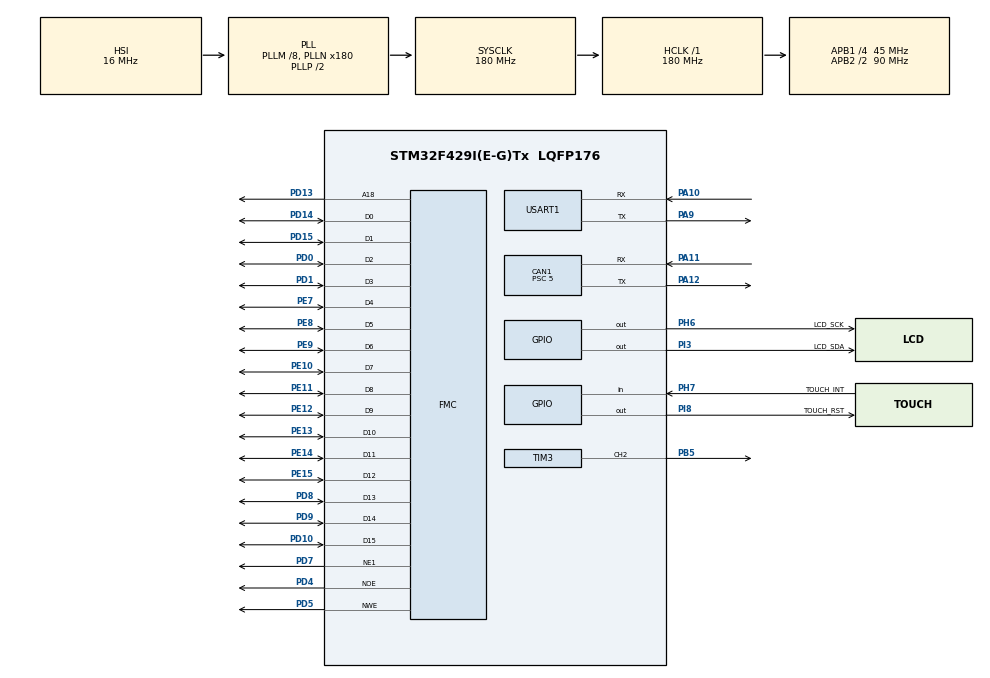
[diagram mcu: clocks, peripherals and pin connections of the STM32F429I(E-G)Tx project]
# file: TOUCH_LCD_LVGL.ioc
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CAN1.BS1=CAN_BS1_11TQ
CAN1.BS2=CAN_BS2_6TQ
CAN1.CalculateBaudRate=500000
CAN1.CalculateTimeBit=2000
CAN1.CalculateTimeQuantum=111.11111111111111
CAN1.Mode=CAN_MODE_NORMAL
CAN1.NART=ENABLE
CAN1.Prescaler=5
CAN1.TXFP=ENABLE
DMA2D.ColorMode=DMA2D_OUTPUT_RGB565
Dma.MEMTOMEM.0.Direction=DMA_MEMORY_TO_MEMORY
Dma.MEMTOMEM.0.FIFOMode=DMA_FIFOMODE_ENABLE
Dma.MEMTOMEM.0.FIFOThreshold=DMA_FIFO_THRESHOLD_FULL
Dma.MEMTOMEM.0.Instance=DMA2_Stream0
Dma.MEMTOMEM.0.MemBurst=DMA_MBURST_SINGLE
Dma.MEMTOMEM.0.MemDataAlignment=DMA_MDATAALIGN_HALFWORD
Dma.MEMTOMEM.0.MemInc=DMA_MINC_DISABLE
Dma.MEMTOMEM.0.Mode=DMA_NORMAL
Dma.MEMTOMEM.0.PeriphBurst=DMA_PBURST_INC4
Dma.MEMTOMEM.0.PeriphDataAlignment=DMA_PDATAALIGN_HALFWORD
Dma.MEMTOMEM.0.PeriphInc=DMA_PINC_ENABLE
Dma.MEMTOMEM.0.Priority=DMA_PRIORITY_VERY_HIGH
Dma.Request0=MEMTOMEM
FMC.AddressSetupTime1=2
FMC.BusTurnAroundDuration1=0
FMC.DataSetupTime1=4
FMC.ExtendedAddressSetupTime1=2
FMC.ExtendedBusTurnAroundDuration1=0
FMC.ExtendedDataSetupTime1=2
FMC.ExtendedMode1=FMC_EXTENDED_MODE_ENABLE
Mcu.Family=STM32F4
Mcu.Name=STM32F429I(E-G)Tx
Mcu.Package=LQFP176
NVIC.DMA2D_IRQn=true\:0\:0\:false\:false\:true\:true\:true\:true
NVIC.DMA2_Stream0_IRQn=true\:0\:0\:false\:false\:true\:true\:true\:true
NVIC.PriorityGroup=NVIC_PRIORITYGROUP_4
NVIC.TIM6_DAC_IRQn=true\:0\:0\:false\:false\:true\:true\:true\:true
PA10.Mode=Asynchronous
PA10.Signal=USART1_RX
PA11.Mode=CAN_Activate
PA11.Signal=CAN1_RX
PA12.Mode=CAN_Activate
PA12.Signal=CAN1_TX
PA13.Mode=Serial_Wire
PA13.Signal=SYS_JTMS-SWDIO
PA14.Mode=Serial_Wire
PA14.Signal=SYS_JTCK-SWCLK
PA9.Mode=Asynchronous
PA9.Signal=USART1_TX
PB5.Signal=S_TIM3_CH2
PD0.Signal=FMC_D2_DA2
PD1.Signal=FMC_D3_DA3
PD10.Signal=FMC_D15_DA15
PD13.Signal=FMC_A18
PD14.Signal=FMC_D0_DA0
PD15.Signal=FMC_D1_DA1
PD4.Signal=FMC_NOE
PD5.Signal=FMC_NWE
PD7.Mode=NorPsramChipSelect1_1
PD7.Signal=FMC_NE1
PD8.Signal=FMC_D13_DA13
PD9.Signal=FMC_D14_DA14
PE10.Signal=FMC_D7_DA7
PE11.Signal=FMC_D8_DA8
PE12.Signal=FMC_D9_DA9
PE13.Signal=FMC_D10_DA10
PE14.Signal=FMC_D11_DA11
PE15.Signal=FMC_D12_DA12
PE7.Signal=FMC_D4_DA4
PE8.Signal=FMC_D5_DA5
PE9.Signal=FMC_D6_DA6
PH0/OSC_IN.Mode=HSE-External-Oscillator
PH0/OSC_IN.Signal=RCC_OSC_IN
PH1/OSC_OUT.Mode=HSE-External-Oscillator
PH1/OSC_OUT.Signal=RCC_OSC_OUT
PH6.GPIO_Label=LCD_SCK
PH6.GPIO_ModeDefaultOutputPP=GPIO_MODE_OUTPUT_OD
PH6.GPIO_PuPd=GPIO_PULLUP
PH6.GPIO_Speed=GPIO_SPEED_FREQ_HIGH
PH6.PinState=GPIO_PIN_SET
PH6.Signal=GPIO_Output
PH7.GPIO_Label=TOUCH_INT
PH7.GPIO_PuPd=GPIO_PULLUP
PH7.Signal=GPIO_Input
PI3.GPIO_Label=LCD_SDA
PI3.GPIO_ModeDefaultOutputPP=GPIO_MODE_OUTPUT_OD
PI3.GPIO_PuPd=GPIO_PULLUP
PI3.GPIO_Speed=GPIO_SPEED_FREQ_HIGH
PI3.PinState=GPIO_PIN_SET
PI3.Signal=GPIO_Output
PI8.GPIO_Label=TOUCH_RST
PI8.GPIO_PuPd=GPIO_PULLUP
PI8.GPIO_Speed=GPIO_SPEED_FREQ_LOW
PI8.Signal=GPIO_Output
ProjectManager.HeapSize=0x1000
ProjectManager.StackSize=0x1000
ProjectManager.TargetToolchain=MDK-ARM V5.32
RCC.48MHZClocksFreq_Value=90000000
RCC.AHBFreq_Value=180000000
RCC.APB1CLKDivider=RCC_HCLK_DIV4
RCC.APB1Freq_Value=45000000
RCC.APB1TimFreq_Value=90000000
RCC.APB2CLKDivider=RCC_HCLK_DIV2
RCC.APB2Freq_Value=90000000
RCC.APB2TimFreq_Value=180000000
RCC.CortexFreq_Value=180000000
RCC.HCLKFreq_Value=180000000
RCC.HSE_VALUE=25000000
RCC.HSI_VALUE=16000000
RCC.LSE_VALUE=32768
RCC.PLLM=8
RCC.PLLN=180
RCC.SYSCLKFreq_VALUE=180000000
RCC.SYSCLKSource=RCC_SYSCLKSOURCE_PLLCLK
RCC.VCOOutputFreq_Value=360000000
SH.FMC_A18.0=FMC_A18,A18_1
SH.FMC_D0_DA0.0=FMC_D0,16b-d1
SH.FMC_D10_DA10.0=FMC_D10,16b-d1
SH.FMC_D11_DA11.0=FMC_D11,16b-d1
SH.FMC_D12_DA12.0=FMC_D12,16b-d1
SH.FMC_D13_DA13.0=FMC_D13,16b-d1
SH.FMC_D14_DA14.0=FMC_D14,16b-d1
SH.FMC_D15_DA15.0=FMC_D15,16b-d1
SH.FMC_D1_DA1.0=FMC_D1,16b-d1
SH.FMC_D2_DA2.0=FMC_D2,16b-d1
SH.FMC_D3_DA3.0=FMC_D3,16b-d1
SH.FMC_D4_DA4.0=FMC_D4,16b-d1
SH.FMC_D5_DA5.0=FMC_D5,16b-d1
SH.FMC_D6_DA6.0=FMC_D6,16b-d1
SH.FMC_D7_DA7.0=FMC_D7,16b-d1
SH.FMC_D8_DA8.0=FMC_D8,16b-d1
SH.FMC_D9_DA9.0=FMC_D9,16b-d1
SH.FMC_NOE.0=FMC_NOE,Lcd1
SH.FMC_NWE.0=FMC_NWE,Lcd1
SH.S_TIM3_CH2.0=TIM3_CH2,PWM Generation2 CH2
TIM3.AutoReloadPreload=TIM_AUTORELOAD_PRELOAD_ENABLE
TIM3.Channel-PWM\ Generation2\ CH2=TIM_CHANNEL_2
TIM3.OCFastMode_PWM-PWM\ Generation2\ CH2=TIM_OCFAST_DISABLE
TIM3.Period=100
TIM3.Prescaler=9000
TIM6.AutoReloadPreload=TIM_AUTORELOAD_PRELOAD_ENABLE
TIM6.Period=999
TIM6.Prescaler=89
USART1.VirtualMode=VM_ASYNC
VP_DMA2D_VS_DMA2D.Mode=DMA2D_Activate
VP_TIM3_VS_ClockSourceINT.Mode=Internal
VP_TIM6_VS_ClockSourceINT.Mode=Enable_Timer
board=custom

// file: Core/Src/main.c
/* USER CODE BEGIN Header */
/**
  ******************************************************************************
  * @file           : main.c
  * @brief          : Main program body
  ******************************************************************************
  * @attention
  *
  * Copyright (c) 2026 STMicroelectronics.
  * All rights reserved.
  *
  * This software is licensed under terms that can be found in the LICENSE file
  * in the root directory of this software component.
  * If no LICENSE file comes with this software, it is provided AS-IS.
  *
  ******************************************************************************
  */
/* USER CODE END Header */
#include "main.h"
#include "can.h"
#include "dma.h"
#include "dma2d.h"
#include "tim.h"
#include "usart.h"
#include "gpio.h"
#include "fmc.h"

/* USER CODE BEGIN Includes */
#include "lcd.h"
#include "touch.h"
#include "delay.h"
#include "CAN_To_BMS.h"
#include "printf.h"

#include <string.h>

#include "lv_port_disp.h"
#include "lv_port_indev.h"
#include "lvgl/lvgl.h"
#include "lv_demos.h"

#include "ui.h"
#include "Charging_Status.h"

/* USER CODE END Includes */

void SystemClock_Config(void);

int main(void)
{

  /* MCU Configuration--------------------------------------------------------*/

  /* Reset of all peripherals, Initializes the Flash interface and the Systick. */
  HAL_Init();

  /* Configure the system clock */
  SystemClock_Config();

  /* Initialize all configured peripherals */
  MX_GPIO_Init();
  MX_DMA_Init();
  MX_TIM6_Init();
  MX_USART1_UART_Init();
  MX_FMC_Init();
  MX_DMA2D_Init();
  MX_TIM3_Init();
  MX_CAN1_Init();
  /* USER CODE BEGIN 2 */
    Can_User_Filter_Init();
// 若需要使用dma2d优化，将main中的dma2d初始化注释，开启lv_conf中的dma2d即可，否则会冲突
    HAL_TIM_Base_Start_IT(&htim6);

   HAL_Delay(150); // NT35510手册中写明内部电池上电后需等待120ms才使用，这里做了冗余
   uint8_t lvgl_choose = 1;    // 0 测试   1 lvgl
   uint8_t stress_choose = 0;  // 0 用户ui 1 压力测试

if(!lvgl_choose)
{
  LCD_init();
  GT1151_init();
}
else
{
//注册dma中断回调函数
    HAL_DMA_RegisterCallback(&hdma_memtomem_dma2_stream0,
                             HAL_DMA_XFER_CPLT_CB_ID,
                             XferCpltCallback);
    lv_init();
    lv_port_disp_init();
    lv_port_indev_init();

    if(stress_choose)   lv_demo_stress();//压力测试
    else ui_create();//个人UI绘制
    LCD_Brightness(bring_now);

}
  HAL_TIM_PWM_Start(&htim3,TIM_CHANNEL_2);//开启背光引脚的pwm

//测试

extern  bool is_charging; // 初始状态为充电中
const uint32_t can_status_period_ms = 1000U;
uint32_t last_can_status_tick = HAL_GetTick() - can_status_period_ms;
bool last_can_status = is_charging;

  /* USER CODE END 2 */

  /* Infinite loop */
  /* USER CODE BEGIN WHILE */
  while (1)
  {

    while(lvgl_choose)
    {
        Can_Get_BMS_Message();
        if (Chart_Update_Start)
        {
            Chart_Update_Start = false;
            if (!stress_choose) Charging_Status_Update();
        }

        //IGT6 Send Commnd to Bms
        uint32_t now = HAL_GetTick();
        if (is_charging != last_can_status || now - last_can_status_tick >= can_status_period_ms)
        {
            uint8_t command = is_charging;
            Can_send_message(Adjust_Charging_Status, &command, sizeof(command));
            last_can_status = is_charging;
            last_can_status_tick = now;
        }

        lv_timer_handler();
        __WFI();
    }

    /* USER CODE END WHILE */

  }
}

void SystemClock_Config(void)
{
  RCC_OscInitTypeDef RCC_OscInitStruct = {0};
  RCC_ClkInitTypeDef RCC_ClkInitStruct = {0};

  /** Configure the main internal regulator output voltage
  */
  __HAL_RCC_PWR_CLK_ENABLE();
  __HAL_PWR_VOLTAGESCALING_CONFIG(PWR_REGULATOR_VOLTAGE_SCALE1);

  /** Initializes the RCC Oscillators according to the specified parameters
  * in the RCC_OscInitTypeDef structure.
  */
  RCC_OscInitStruct.OscillatorType = RCC_OSCILLATORTYPE_HSI;
  RCC_OscInitStruct.HSIState = RCC_HSI_ON;
  RCC_OscInitStruct.HSICalibrationValue = RCC_HSICALIBRATION_DEFAULT;
  RCC_OscInitStruct.PLL.PLLState = RCC_PLL_ON;
  RCC_OscInitStruct.PLL.PLLSource = RCC_PLLSOURCE_HSI;
  RCC_OscInitStruct.PLL.PLLM = 8;
  RCC_OscInitStruct.PLL.PLLN = 180;
  RCC_OscInitStruct.PLL.PLLP = RCC_PLLP_DIV2;
  RCC_OscInitStruct.PLL.PLLQ = 4;
  if (HAL_RCC_OscConfig(&RCC_OscInitStruct) != HAL_OK)
  {
    Error_Handler();
  }

  /** Activate the Over-Drive mode
  */
  if (HAL_PWREx_EnableOverDrive() != HAL_OK)
  {
    Error_Handler();
  }

  /** Initializes the CPU, AHB and APB buses clocks
  */
  RCC_ClkInitStruct.ClockType = RCC_CLOCKTYPE_HCLK|RCC_CLOCKTYPE_SYSCLK
                              |RCC_CLOCKTYPE_PCLK1|RCC_CLOCKTYPE_PCLK2;
  RCC_ClkInitStruct.SYSCLKSource = RCC_SYSCLKSOURCE_PLLCLK;
  RCC_ClkInitStruct.AHBCLKDivider = RCC_SYSCLK_DIV1;
  RCC_ClkInitStruct.APB1CLKDivider = RCC_HCLK_DIV4;
  RCC_ClkInitStruct.APB2CLKDivider = RCC_HCLK_DIV2;

  if (HAL_RCC_ClockConfig(&RCC_ClkInitStruct, FLASH_LATENCY_5) != HAL_OK)
  {
    Error_Handler();
  }
}

void Error_Handler(void)
{
  __disable_irq();
  while (1)
  {
  }
}
